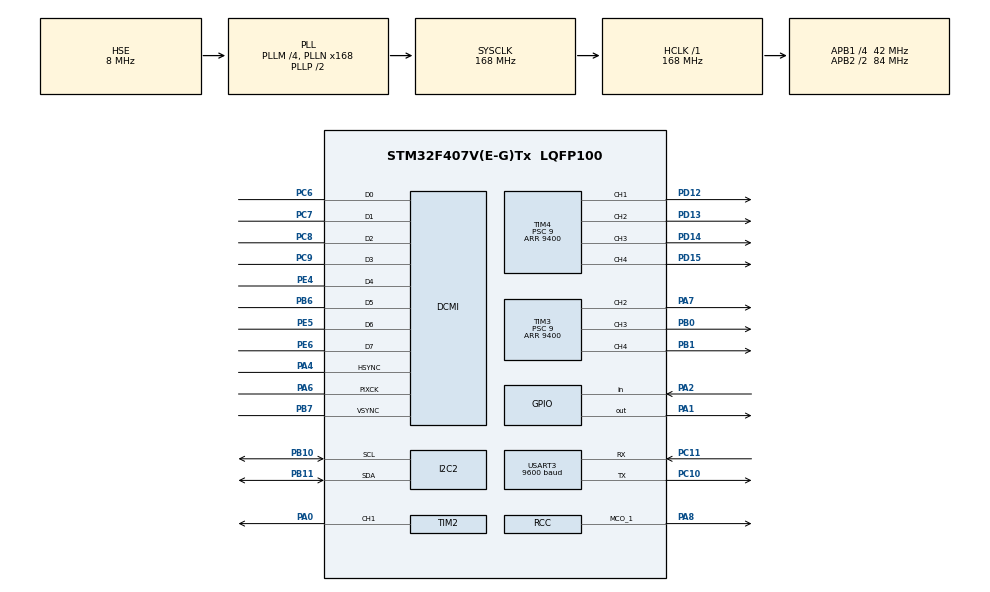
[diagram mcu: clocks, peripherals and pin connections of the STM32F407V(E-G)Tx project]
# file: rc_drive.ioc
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DCMI.PCKPolarity=DCMI_PCKPOLARITY_RISING
DCMI.VSPolarity=DCMI_VSPOLARITY_HIGH
Dma.DCMI.0.Direction=DMA_PERIPH_TO_MEMORY
Dma.DCMI.0.FIFOMode=DMA_FIFOMODE_DISABLE
Dma.DCMI.0.Instance=DMA2_Stream1
Dma.DCMI.0.MemDataAlignment=DMA_MDATAALIGN_WORD
Dma.DCMI.0.MemInc=DMA_MINC_DISABLE
Dma.DCMI.0.Mode=DMA_NORMAL
Dma.DCMI.0.PeriphDataAlignment=DMA_PDATAALIGN_WORD
Dma.DCMI.0.PeriphInc=DMA_PINC_DISABLE
Dma.DCMI.0.Priority=DMA_PRIORITY_LOW
Dma.Request0=DCMI
Mcu.Family=STM32F4
Mcu.Name=STM32F407V(E-G)Tx
Mcu.Package=LQFP100
NVIC.DCMI_IRQn=true\:0\:0\:false\:false\:true\:true\:true
NVIC.DMA2_Stream1_IRQn=true\:0\:0\:false\:false\:true\:false\:true
NVIC.PriorityGroup=NVIC_PRIORITYGROUP_4
NVIC.TIM2_IRQn=true\:0\:0\:false\:false\:true\:true\:true
NVIC.TIM3_IRQn=true\:0\:0\:false\:false\:true\:true\:true
NVIC.TIM4_IRQn=true\:0\:0\:false\:false\:true\:true\:true
NVIC.USART3_IRQn=true\:0\:0\:false\:false\:true\:true\:true
PA0-WKUP.Signal=S_TIM2_CH1_ETR
PA1.Signal=GPIO_Output
PA2.Signal=GPIO_Input
PA4.GPIO_PuPd=GPIO_PULLDOWN
PA4.GPIO_Speed=GPIO_SPEED_FREQ_VERY_HIGH
PA4.Mode=Slave_8_bits_External_Synchro
PA4.Signal=DCMI_HSYNC
PA6.GPIO_PuPd=GPIO_PULLDOWN
PA6.GPIO_Speed=GPIO_SPEED_FREQ_VERY_HIGH
PA6.Mode=Slave_8_bits_External_Synchro
PA6.Signal=DCMI_PIXCK
PA7.Signal=S_TIM3_CH2
PA8.GPIO_Speed=GPIO_SPEED_FREQ_VERY_HIGH
PA8.Mode=Clock-out-1
PA8.Signal=RCC_MCO_1
PB0.Signal=S_TIM3_CH3
PB1.Signal=S_TIM3_CH4
PB10.Mode=I2C
PB10.Signal=I2C2_SCL
PB11.Mode=I2C
PB11.Signal=I2C2_SDA
PB6.GPIO_PuPd=GPIO_PULLDOWN
PB6.GPIO_Speed=GPIO_SPEED_FREQ_VERY_HIGH
PB6.Mode=Slave_8_bits_External_Synchro
PB6.Signal=DCMI_D5
PB7.GPIO_PuPd=GPIO_PULLDOWN
PB7.GPIO_Speed=GPIO_SPEED_FREQ_VERY_HIGH
PB7.Mode=Slave_8_bits_External_Synchro
PB7.Signal=DCMI_VSYNC
PC10.Mode=Asynchronous
PC10.Signal=USART3_TX
PC11.Mode=Asynchronous
PC11.Signal=USART3_RX
PC6.GPIO_PuPd=GPIO_PULLDOWN
PC6.GPIO_Speed=GPIO_SPEED_FREQ_VERY_HIGH
PC6.Mode=Slave_8_bits_External_Synchro
PC6.Signal=DCMI_D0
PC7.GPIO_PuPd=GPIO_PULLDOWN
PC7.GPIO_Speed=GPIO_SPEED_FREQ_VERY_HIGH
PC7.Mode=Slave_8_bits_External_Synchro
PC7.Signal=DCMI_D1
PC8.GPIO_PuPd=GPIO_PULLDOWN
PC8.GPIO_Speed=GPIO_SPEED_FREQ_VERY_HIGH
PC8.Mode=Slave_8_bits_External_Synchro
PC8.Signal=DCMI_D2
PC9.GPIO_PuPd=GPIO_PULLDOWN
PC9.GPIO_Speed=GPIO_SPEED_FREQ_VERY_HIGH
PC9.Mode=Slave_8_bits_External_Synchro
PC9.Signal=DCMI_D3
PD12.Signal=S_TIM4_CH1
PD13.Signal=S_TIM4_CH2
PD14.Signal=S_TIM4_CH3
PD15.Signal=S_TIM4_CH4
PE4.GPIO_PuPd=GPIO_PULLDOWN
PE4.GPIO_Speed=GPIO_SPEED_FREQ_VERY_HIGH
PE4.Mode=Slave_8_bits_External_Synchro
PE4.Signal=DCMI_D4
PE5.GPIO_PuPd=GPIO_PULLDOWN
PE5.GPIO_Speed=GPIO_SPEED_FREQ_VERY_HIGH
PE5.Mode=Slave_8_bits_External_Synchro
PE5.Signal=DCMI_D6
PE6.GPIO_PuPd=GPIO_PULLDOWN
PE6.GPIO_Speed=GPIO_SPEED_FREQ_VERY_HIGH
PE6.Mode=Slave_8_bits_External_Synchro
PE6.Signal=DCMI_D7
PH0-OSC_IN.Mode=HSE-External-Oscillator
PH0-OSC_IN.Signal=RCC_OSC_IN
PH1-OSC_OUT.Mode=HSE-External-Oscillator
PH1-OSC_OUT.Signal=RCC_OSC_OUT
ProjectManager.HeapSize=0x200
ProjectManager.StackSize=0x400
ProjectManager.TargetToolchain=STM32CubeIDE
RCC.48MHZClocksFreq_Value=84000000
RCC.AHBFreq_Value=168000000
RCC.APB1CLKDivider=RCC_HCLK_DIV4
RCC.APB1Freq_Value=42000000
RCC.APB1TimFreq_Value=84000000
RCC.APB2CLKDivider=RCC_HCLK_DIV2
RCC.APB2Freq_Value=84000000
RCC.APB2TimFreq_Value=168000000
RCC.CortexFreq_Value=168000000
RCC.HCLKFreq_Value=168000000
RCC.HSE_VALUE=8000000
RCC.HSI_VALUE=16000000
RCC.LSE_VALUE=32768
RCC.PLLM=4
RCC.PLLN=168
RCC.PLLSourceVirtual=RCC_PLLSOURCE_HSE
RCC.RCC_MCO1Source=RCC_MCO1SOURCE_PLLCLK
RCC.RCC_MCODiv1=RCC_MCODIV_4
RCC.SYSCLKFreq_VALUE=168000000
RCC.SYSCLKSource=RCC_SYSCLKSOURCE_PLLCLK
RCC.VCOOutputFreq_Value=336000000
SH.S_TIM2_CH1_ETR.0=TIM2_CH1,PWM Generation1 CH1
SH.S_TIM3_CH2.0=TIM3_CH2,PWM Generation2 CH2
SH.S_TIM3_CH3.0=TIM3_CH3,PWM Generation3 CH3
SH.S_TIM3_CH4.0=TIM3_CH4,PWM Generation4 CH4
SH.S_TIM4_CH1.0=TIM4_CH1,PWM Generation1 CH1
SH.S_TIM4_CH2.0=TIM4_CH2,PWM Generation2 CH2
SH.S_TIM4_CH3.0=TIM4_CH3,PWM Generation3 CH3
SH.S_TIM4_CH4.0=TIM4_CH4,PWM Generation4 CH4
TIM2.Channel-PWM\ Generation1\ CH1=TIM_CHANNEL_1
TIM2.Period=9400
TIM2.Prescaler=9
TIM3.Channel-PWM\ Generation2\ CH2=TIM_CHANNEL_2
TIM3.Channel-PWM\ Generation3\ CH3=TIM_CHANNEL_3
TIM3.Channel-PWM\ Generation4\ CH4=TIM_CHANNEL_4
TIM3.CounterMode=TIM_COUNTERMODE_UP
TIM3.OCPolarity_2=TIM_OCPOLARITY_HIGH
TIM3.OCPolarity_3=TIM_OCPOLARITY_HIGH
TIM3.OCPolarity_4=TIM_OCPOLARITY_HIGH
TIM3.Period=9400
TIM3.Prescaler=9
TIM3.Pulse-PWM\ Generation3\ CH3=0
TIM3.Pulse-PWM\ Generation4\ CH4=0
TIM4.Channel-PWM\ Generation1\ CH1=TIM_CHANNEL_1
TIM4.Channel-PWM\ Generation2\ CH2=TIM_CHANNEL_2
TIM4.Channel-PWM\ Generation3\ CH3=TIM_CHANNEL_3
TIM4.Channel-PWM\ Generation4\ CH4=TIM_CHANNEL_4
TIM4.Period=9400
TIM4.Prescaler=9
USART3.BaudRate=9600
USART3.VirtualMode=VM_ASYNC
VP_TIM2_VS_ClockSourceINT.Mode=Internal
VP_TIM3_VS_ClockSourceINT.Mode=Internal
VP_TIM4_VS_ClockSourceINT.Mode=Internal
board=custom

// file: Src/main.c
/* USER CODE BEGIN Header */
/**
  ******************************************************************************
  * @file           : main.c
  * @brief          : Main program body
  ******************************************************************************
  * @attention
  *
  * <h2><center>&copy; Copyright (c) 2020 STMicroelectronics.
  * All rights reserved.</center></h2>
  *
  * This software component is licensed by ST under BSD 3-Clause license,
  * the "License"; You may not use this file except in compliance with the
  * License. You may obtain a copy of the License at:
  *                        opensource.org/licenses/BSD-3-Clause
  *
  ******************************************************************************
  */
/* USER CODE END Header */

#include <string.h>
#include "main.h"
#include "common.h"
#include "ov9655/ov9655.h"
#include "ov9655/ov9655Config.h"
#include "dwt_delay.h"

DCMI_HandleTypeDef hdcmi;
DMA_HandleTypeDef hdma_dcmi;

I2C_HandleTypeDef hi2c2;

TIM_HandleTypeDef htim2;
TIM_HandleTypeDef htim3;
TIM_HandleTypeDef htim4;

UART_HandleTypeDef huart3;

/* USER CODE BEGIN PV */

int8_t USART_Buffer[8][32];
uint8_t usart_buf_in[1];//unit16_t is wrong pointer for transmitAndRecive?
uint8_t usart_buf_out[8] = {0, 0, 0, 0, 0, 0, 0, 0};
uint16_t sizeSendUART = 8;
uint16_t sizeReceiveUART = 1;

uint8_t AT_command[4] = {'T','E', 'S', 'T'}; //unit16_t is wrong pointer for transmitAndRecive?
uint16_t AT_size = 4;

/* USER CODE END PV */

void SystemClock_Config(void);
static void MX_GPIO_Init(void);
static void MX_DMA_Init(void);
static void MX_TIM4_Init(void);
static void MX_USART3_UART_Init(void);
static void MX_DCMI_Init(void);
static void MX_TIM2_Init(void);
static void MX_TIM3_Init(void);
static void MX_I2C2_Init(void);
/* USER CODE BEGIN PFP */

void HAL_UART_RxCpltCallback(UART_HandleTypeDef *huart)
{
	if(huart->Instance == USART3)
	{
		if(usart_buf_in[0]=='F')
		{
			TIM4->CCR1=9400;
			TIM4->CCR2=9400;
			TIM4->CCR3=9400; //RIGHT FRONT WHEEL
			TIM4->CCR4=9400; //LEFT FRONT WHEEL

			TIM2->CCR1=0;
			TIM3->CCR2=0;
			TIM3->CCR3=0; //RIGHT FRONT WHEEL
			TIM3->CCR4=0; //LEFT FRONT WHEEL
		}
		else if(usart_buf_in[0]=='B')
		{
			TIM4->CCR1=0;
			TIM4->CCR2=0;
			TIM4->CCR3=0;
			TIM4->CCR4=0;

			TIM2->CCR1=9400;
			TIM3->CCR2=9400;
			TIM3->CCR3=9400;
			TIM3->CCR4=9400;
		}
		else if(usart_buf_in[0]=='R')
		{
			TIM4->CCR1=9400;
			TIM4->CCR2=0; //RIGHT REAR WHEEL
			TIM4->CCR3=0; //RIGHT FRONT WHEEL
			TIM4->CCR4=9400;

			TIM2->CCR1=0;
			TIM3->CCR2=0;
			TIM3->CCR3=0;
			TIM3->CCR4=0;
		}
		else if(usart_buf_in[0]=='L')
		{
			TIM4->CCR1=0; //LEFT REAR WHEEL
			TIM4->CCR2=9400;
			TIM4->CCR3=9400;
			TIM4->CCR4=0; //LEFT FRONT WHEEL

			TIM2->CCR1=0;
			TIM3->CCR2=0;
			TIM3->CCR3=0;
			TIM3->CCR4=0;
		}

		HAL_UART_Receive_IT(&huart3, usart_buf_in, sizeReceiveUART);
		//HAL_UART_Transmit_IT(&huart3, usart_buf_in, sizeReceiveUART);
		memset(usart_buf_in, 0, sizeof(usart_buf_in));
		for(int i=0; i<1500000; i++)
		{}
		if(usart_buf_in[0]=='\0')
		{
			 TIM4->CCR1=0;
			 TIM4->CCR2=0;
			 TIM4->CCR3=0;
			 TIM4->CCR4=0;

			 TIM2->CCR1=0;
			 TIM3->CCR2=0;
			 TIM3->CCR3=0;
			 TIM3->CCR4=0;
		}

	}
}

void HAL_TIM_PeriodElapsedCallback(TIM_HandleTypeDef *htim)
{
	if(htim->Instance == TIM4)
	{

	}
}

/* USER CODE END PFP */

/* USER CODE BEGIN 0 */
uint32_t sensor_time;
uint16_t dist;

uint32_t hcsr04_read (void) {

	uint32_t local_time = 0;

	HAL_GPIO_WritePin(GPIOA, GPIO_PIN_1, GPIO_PIN_SET);
	DWT_Delay(10);
	HAL_GPIO_WritePin(GPIOA, GPIO_PIN_1, GPIO_PIN_RESET);

	while(!(HAL_GPIO_ReadPin(GPIOA, GPIO_PIN_2)));

	while(HAL_GPIO_ReadPin(GPIOA, GPIO_PIN_2))
	{
		local_time++;
		DWT_Delay(1);
	}

	return local_time*2;
}

/* USER CODE END 0 */

int main(void)
{

  /* MCU Configuration--------------------------------------------------------*/

  /* Reset of all peripherals, Initializes the Flash interface and the Systick. */
  HAL_Init();

  /* Configure the system clock */
  SystemClock_Config();

  /* Initialize all configured peripherals */
  MX_GPIO_Init();
  MX_DMA_Init();
  MX_TIM4_Init();
  MX_USART3_UART_Init();
  MX_DCMI_Init();
  MX_TIM2_Init();
  MX_TIM3_Init();
  MX_I2C2_Init();
  /* USER CODE BEGIN 2 */
  DWT_Init();
  HAL_TIM_Base_Start_IT(&htim4);

  HAL_TIM_PWM_Start(&htim4, TIM_CHANNEL_1);
  HAL_TIM_PWM_Start(&htim4, TIM_CHANNEL_2);
  HAL_TIM_PWM_Start(&htim4, TIM_CHANNEL_3);
  HAL_TIM_PWM_Start(&htim4, TIM_CHANNEL_4);

  HAL_TIM_Base_Start_IT(&htim3);

  HAL_TIM_PWM_Start(&htim3, TIM_CHANNEL_2);
  HAL_TIM_PWM_Start(&htim3, TIM_CHANNEL_3);
  HAL_TIM_PWM_Start(&htim3, TIM_CHANNEL_4);

  HAL_TIM_Base_Start_IT(&htim2);

  HAL_TIM_PWM_Start(&htim2, TIM_CHANNEL_1);

  HAL_UART_Receive_IT(&huart3, usart_buf_in, sizeReceiveUART);

  ov9655_init(&hdcmi, &hdma_dcmi, &hi2c2);
  ov9655_config(OV9655_MODE_QVGA_RGB565);
  //ov9655_startCap(capMode, destAddress);

  /* USER CODE END 2 */

  /* Infinite loop */
  /* USER CODE BEGIN WHILE */
  while (1)
  {
	  sensor_time = hcsr04_read();
	  dist = sensor_time * .034/2;
    /* USER CODE END WHILE */

  }
}

void SystemClock_Config(void)
{
  RCC_OscInitTypeDef RCC_OscInitStruct = {0};
  RCC_ClkInitTypeDef RCC_ClkInitStruct = {0};

  /** Configure the main internal regulator output voltage
  */
  __HAL_RCC_PWR_CLK_ENABLE();
  __HAL_PWR_VOLTAGESCALING_CONFIG(PWR_REGULATOR_VOLTAGE_SCALE1);
  /** Initializes the CPU, AHB and APB busses clocks
  */
  RCC_OscInitStruct.OscillatorType = RCC_OSCILLATORTYPE_HSE;
  RCC_OscInitStruct.HSEState = RCC_HSE_ON;
  RCC_OscInitStruct.PLL.PLLState = RCC_PLL_ON;
  RCC_OscInitStruct.PLL.PLLSource = RCC_PLLSOURCE_HSE;
  RCC_OscInitStruct.PLL.PLLM = 4;
  RCC_OscInitStruct.PLL.PLLN = 168;
  RCC_OscInitStruct.PLL.PLLP = RCC_PLLP_DIV2;
  RCC_OscInitStruct.PLL.PLLQ = 4;
  if (HAL_RCC_OscConfig(&RCC_OscInitStruct) != HAL_OK)
  {
    Error_Handler();
  }
  /** Initializes the CPU, AHB and APB busses clocks
  */
  RCC_ClkInitStruct.ClockType = RCC_CLOCKTYPE_HCLK|RCC_CLOCKTYPE_SYSCLK
                              |RCC_CLOCKTYPE_PCLK1|RCC_CLOCKTYPE_PCLK2;
  RCC_ClkInitStruct.SYSCLKSource = RCC_SYSCLKSOURCE_PLLCLK;
  RCC_ClkInitStruct.AHBCLKDivider = RCC_SYSCLK_DIV1;
  RCC_ClkInitStruct.APB1CLKDivider = RCC_HCLK_DIV4;
  RCC_ClkInitStruct.APB2CLKDivider = RCC_HCLK_DIV2;

  if (HAL_RCC_ClockConfig(&RCC_ClkInitStruct, FLASH_LATENCY_5) != HAL_OK)
  {
    Error_Handler();
  }
  HAL_RCC_MCOConfig(RCC_MCO1, RCC_MCO1SOURCE_PLLCLK, RCC_MCODIV_4);
}

static void MX_DCMI_Init(void)
{

  hdcmi.Instance = DCMI;
  hdcmi.Init.SynchroMode = DCMI_SYNCHRO_HARDWARE;
  hdcmi.Init.PCKPolarity = DCMI_PCKPOLARITY_RISING;
  hdcmi.Init.VSPolarity = DCMI_VSPOLARITY_HIGH;
  hdcmi.Init.HSPolarity = DCMI_HSPOLARITY_LOW;
  hdcmi.Init.CaptureRate = DCMI_CR_ALL_FRAME;
  hdcmi.Init.ExtendedDataMode = DCMI_EXTEND_DATA_8B;
  hdcmi.Init.JPEGMode = DCMI_JPEG_DISABLE;
  if (HAL_DCMI_Init(&hdcmi) != HAL_OK)
  {
    Error_Handler();
  }

}

static void MX_I2C2_Init(void)
{

  hi2c2.Instance = I2C2;
  hi2c2.Init.ClockSpeed = 100000;
  hi2c2.Init.DutyCycle = I2C_DUTYCYCLE_2;
  hi2c2.Init.OwnAddress1 = 0;
  hi2c2.Init.AddressingMode = I2C_ADDRESSINGMODE_7BIT;
  hi2c2.Init.DualAddressMode = I2C_DUALADDRESS_DISABLE;
  hi2c2.Init.OwnAddress2 = 0;
  hi2c2.Init.GeneralCallMode = I2C_GENERALCALL_DISABLE;
  hi2c2.Init.NoStretchMode = I2C_NOSTRETCH_DISABLE;
  if (HAL_I2C_Init(&hi2c2) != HAL_OK)
  {
    Error_Handler();
  }

}

static void MX_TIM2_Init(void)
{

  TIM_ClockConfigTypeDef sClockSourceConfig = {0};
  TIM_MasterConfigTypeDef sMasterConfig = {0};
  TIM_OC_InitTypeDef sConfigOC = {0};

  htim2.Instance = TIM2;
  htim2.Init.Prescaler = 9;
  htim2.Init.CounterMode = TIM_COUNTERMODE_UP;
  htim2.Init.Period = 9400;
  htim2.Init.ClockDivision = TIM_CLOCKDIVISION_DIV1;
  htim2.Init.AutoReloadPreload = TIM_AUTORELOAD_PRELOAD_DISABLE;
  if (HAL_TIM_Base_Init(&htim2) != HAL_OK)
  {
    Error_Handler();
  }
  sClockSourceConfig.ClockSource = TIM_CLOCKSOURCE_INTERNAL;
  if (HAL_TIM_ConfigClockSource(&htim2, &sClockSourceConfig) != HAL_OK)
  {
    Error_Handler();
  }
  if (HAL_TIM_PWM_Init(&htim2) != HAL_OK)
  {
    Error_Handler();
  }
  sMasterConfig.MasterOutputTrigger = TIM_TRGO_RESET;
  sMasterConfig.MasterSlaveMode = TIM_MASTERSLAVEMODE_DISABLE;
  if (HAL_TIMEx_MasterConfigSynchronization(&htim2, &sMasterConfig) != HAL_OK)
  {
    Error_Handler();
  }
  sConfigOC.OCMode = TIM_OCMODE_PWM1;
  sConfigOC.Pulse = 0;
  sConfigOC.OCPolarity = TIM_OCPOLARITY_HIGH;
  sConfigOC.OCFastMode = TIM_OCFAST_DISABLE;
  if (HAL_TIM_PWM_ConfigChannel(&htim2, &sConfigOC, TIM_CHANNEL_1) != HAL_OK)
  {
    Error_Handler();
  }
  HAL_TIM_MspPostInit(&htim2);

}

static void MX_TIM3_Init(void)
{

  TIM_ClockConfigTypeDef sClockSourceConfig = {0};
  TIM_MasterConfigTypeDef sMasterConfig = {0};
  TIM_OC_InitTypeDef sConfigOC = {0};

  htim3.Instance = TIM3;
  htim3.Init.Prescaler = 9;
  htim3.Init.CounterMode = TIM_COUNTERMODE_UP;
  htim3.Init.Period = 9400;
  htim3.Init.ClockDivision = TIM_CLOCKDIVISION_DIV1;
  htim3.Init.AutoReloadPreload = TIM_AUTORELOAD_PRELOAD_DISABLE;
  if (HAL_TIM_Base_Init(&htim3) != HAL_OK)
  {
    Error_Handler();
  }
  sClockSourceConfig.ClockSource = TIM_CLOCKSOURCE_INTERNAL;
  if (HAL_TIM_ConfigClockSource(&htim3, &sClockSourceConfig) != HAL_OK)
  {
    Error_Handler();
  }
  if (HAL_TIM_PWM_Init(&htim3) != HAL_OK)
  {
    Error_Handler();
  }
  sMasterConfig.MasterOutputTrigger = TIM_TRGO_RESET;
  sMasterConfig.MasterSlaveMode = TIM_MASTERSLAVEMODE_DISABLE;
  if (HAL_TIMEx_MasterConfigSynchronization(&htim3, &sMasterConfig) != HAL_OK)
  {
    Error_Handler();
  }
  sConfigOC.OCMode = TIM_OCMODE_PWM1;
  sConfigOC.Pulse = 0;
  sConfigOC.OCPolarity = TIM_OCPOLARITY_HIGH;
  sConfigOC.OCFastMode = TIM_OCFAST_DISABLE;
  if (HAL_TIM_PWM_ConfigChannel(&htim3, &sConfigOC, TIM_CHANNEL_2) != HAL_OK)
  {
    Error_Handler();
  }
  if (HAL_TIM_PWM_ConfigChannel(&htim3, &sConfigOC, TIM_CHANNEL_3) != HAL_OK)
  {
    Error_Handler();
  }
  if (HAL_TIM_PWM_ConfigChannel(&htim3, &sConfigOC, TIM_CHANNEL_4) != HAL_OK)
  {
    Error_Handler();
  }
  HAL_TIM_MspPostInit(&htim3);

}

static void MX_TIM4_Init(void)
{

  TIM_ClockConfigTypeDef sClockSourceConfig = {0};
  TIM_MasterConfigTypeDef sMasterConfig = {0};
  TIM_OC_InitTypeDef sConfigOC = {0};

  htim4.Instance = TIM4;
  htim4.Init.Prescaler = 9;
  htim4.Init.CounterMode = TIM_COUNTERMODE_UP;
  htim4.Init.Period = 9400;
  htim4.Init.ClockDivision = TIM_CLOCKDIVISION_DIV1;
  htim4.Init.AutoReloadPreload = TIM_AUTORELOAD_PRELOAD_DISABLE;
  if (HAL_TIM_Base_Init(&htim4) != HAL_OK)
  {
    Error_Handler();
  }
  sClockSourceConfig.ClockSource = TIM_CLOCKSOURCE_INTERNAL;
  if (HAL_TIM_ConfigClockSource(&htim4, &sClockSourceConfig) != HAL_OK)
  {
    Error_Handler();
  }
  if (HAL_TIM_PWM_Init(&htim4) != HAL_OK)
  {
    Error_Handler();
  }
  sMasterConfig.MasterOutputTrigger = TIM_TRGO_RESET;
  sMasterConfig.MasterSlaveMode = TIM_MASTERSLAVEMODE_DISABLE;
  if (HAL_TIMEx_MasterConfigSynchronization(&htim4, &sMasterConfig) != HAL_OK)
  {
    Error_Handler();
  }
  sConfigOC.OCMode = TIM_OCMODE_PWM1;
  sConfigOC.Pulse = 0;
  sConfigOC.OCPolarity = TIM_OCPOLARITY_HIGH;
  sConfigOC.OCFastMode = TIM_OCFAST_DISABLE;
  if (HAL_TIM_PWM_ConfigChannel(&htim4, &sConfigOC, TIM_CHANNEL_1) != HAL_OK)
  {
    Error_Handler();
  }
  if (HAL_TIM_PWM_ConfigChannel(&htim4, &sConfigOC, TIM_CHANNEL_2) != HAL_OK)
  {
    Error_Handler();
  }
  if (HAL_TIM_PWM_ConfigChannel(&htim4, &sConfigOC, TIM_CHANNEL_3) != HAL_OK)
  {
    Error_Handler();
  }
  if (HAL_TIM_PWM_ConfigChannel(&htim4, &sConfigOC, TIM_CHANNEL_4) != HAL_OK)
  {
    Error_Handler();
  }
  HAL_TIM_MspPostInit(&htim4);

}

static void MX_USART3_UART_Init(void)
{

  huart3.Instance = USART3;
  huart3.Init.BaudRate = 9600;
  huart3.Init.WordLength = UART_WORDLENGTH_8B;
  huart3.Init.StopBits = UART_STOPBITS_1;
  huart3.Init.Parity = UART_PARITY_NONE;
  huart3.Init.Mode = UART_MODE_TX_RX;
  huart3.Init.HwFlowCtl = UART_HWCONTROL_NONE;
  huart3.Init.OverSampling = UART_OVERSAMPLING_16;
  if (HAL_UART_Init(&huart3) != HAL_OK)
  {
    Error_Handler();
  }

}

static void MX_DMA_Init(void)
{

  /* DMA controller clock enable */
  __HAL_RCC_DMA2_CLK_ENABLE();

  /* DMA interrupt init */
  /* DMA2_Stream1_IRQn interrupt configuration */
  HAL_NVIC_SetPriority(DMA2_Stream1_IRQn, 0, 0);
  HAL_NVIC_EnableIRQ(DMA2_Stream1_IRQn);

}

static void MX_GPIO_Init(void)
{
  GPIO_InitTypeDef GPIO_InitStruct = {0};

  /* GPIO Ports Clock Enable */
  __HAL_RCC_GPIOE_CLK_ENABLE();
  __HAL_RCC_GPIOH_CLK_ENABLE();
  __HAL_RCC_GPIOA_CLK_ENABLE();
  __HAL_RCC_GPIOB_CLK_ENABLE();
  __HAL_RCC_GPIOD_CLK_ENABLE();
  __HAL_RCC_GPIOC_CLK_ENABLE();

  /*Configure GPIO pin Output Level */
  HAL_GPIO_WritePin(GPIOA, GPIO_PIN_1, GPIO_PIN_RESET);

  /*Configure GPIO pin : PA1 */
  GPIO_InitStruct.Pin = GPIO_PIN_1;
  GPIO_InitStruct.Mode = GPIO_MODE_OUTPUT_PP;
  GPIO_InitStruct.Pull = GPIO_NOPULL;
  GPIO_InitStruct.Speed = GPIO_SPEED_FREQ_LOW;
  HAL_GPIO_Init(GPIOA, &GPIO_InitStruct);

  /*Configure GPIO pin : PA2 */
  GPIO_InitStruct.Pin = GPIO_PIN_2;
  GPIO_InitStruct.Mode = GPIO_MODE_INPUT;
  GPIO_InitStruct.Pull = GPIO_NOPULL;
  HAL_GPIO_Init(GPIOA, &GPIO_InitStruct);

  /*Configure GPIO pin : PA8 */
  GPIO_InitStruct.Pin = GPIO_PIN_8;
  GPIO_InitStruct.Mode = GPIO_MODE_AF_PP;
  GPIO_InitStruct.Pull = GPIO_NOPULL;
  GPIO_InitStruct.Speed = GPIO_SPEED_FREQ_VERY_HIGH;
  GPIO_InitStruct.Alternate = GPIO_AF0_MCO;
  HAL_GPIO_Init(GPIOA, &GPIO_InitStruct);

}

void Error_Handler(void)
{
}

/************************ (C) COPYRIGHT STMicroelectronics *****END OF FILE****/
